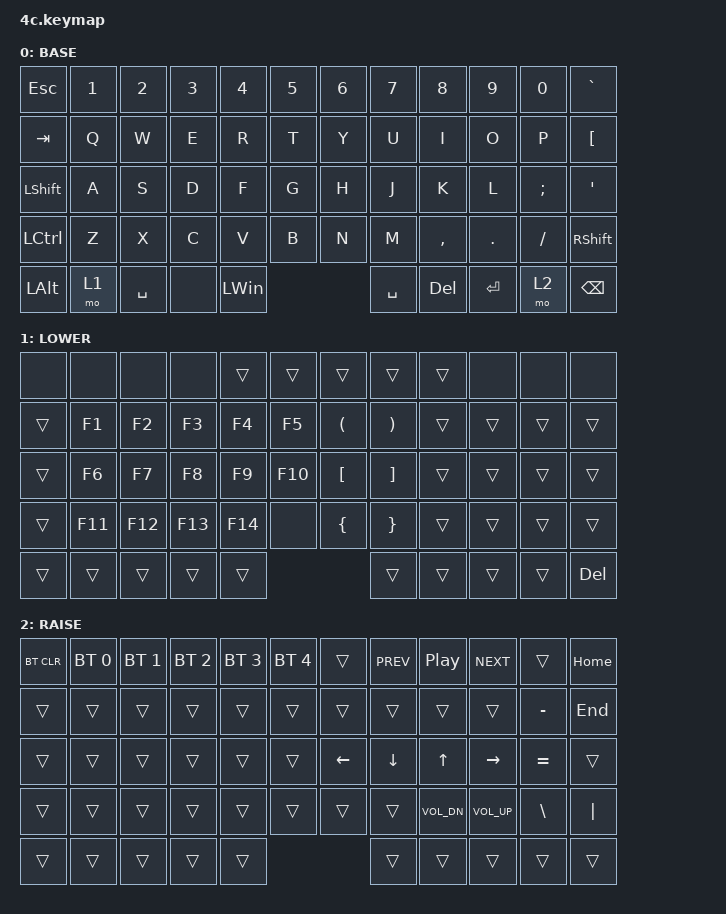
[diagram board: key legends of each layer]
/*
 * Copyright (c) 2020 The ZMK Contributors
 *
 * SPDX-License-Identifier: MIT
 */
/* THIS FILE WAS GENERATED!
 *
 * This file was generated automatically. You may or may not want to
 * edit it directly.
 */

#include <behaviors.dtsi>
#include <dt-bindings/zmk/bt.h>
#include <dt-bindings/zmk/keys.h>

/ {
    combos {
        compatible = "zmk,combos";

        btMo {
            bindings = <&mo 0>;
            key-positions = <56 57>;
        };
    };

    macros {
        codeFence: codeFence {
            compatible = "zmk,behavior-macro";
            label = "new_macro";
            #binding-cells = <0>;
            bindings =
                <&kp GRAVE &kp GRAVE &kp GRAVE &kp RET &kp RET &kp GRAVE &kp GRAVE &kp GRAVE &kp UP>,
                <&macro_press>;
        };

        alt_f4: alt_f4 {
            compatible = "zmk,behavior-macro";
            label = "ALT_F4";
            #binding-cells = <0>;
            bindings = <&kp LALT &kp F4>;
        };
    };

    keymap {
        compatible = "zmk,keymap";

        BASE {
            bindings = <
&kp ESC         &kp NUMBER_1  &kp NUMBER_2  &kp NUMBER_3  &kp NUMBER_4  &kp NUMBER_5    &kp NUMBER_6  &kp NUMBER_7  &kp NUMBER_8  &kp NUMBER_9  &kp NUMBER_0  &kp GRAVE
&kp TAB         &kp Q         &kp W         &kp E         &kp R         &kp T           &kp Y         &kp U         &kp I         &kp O         &kp P         &kp LEFT_BRACKET
&kp LEFT_SHIFT  &kp A         &kp S         &kp D         &kp F         &kp G           &kp H         &kp J         &kp K         &kp L         &kp SEMI      &kp APOS
&kp LCTRL       &kp Z         &kp X         &kp C         &kp V         &kp B           &kp N         &kp M         &kp COMMA     &kp PERIOD    &kp SLASH     &kp RIGHT_SHIFT
&kp LEFT_ALT    &mo 1         &kp SPACE     &none         &kp LEFT_WIN                                &kp SPACE     &kp DELETE    &kp ENTER     &mo 2         &kp BACKSPACE
            >;
        };

        LOWER {
            bindings = <
&none   &none    &none    &none    &trans   &trans     &trans                &trans                 &trans  &none   &none   &none
&trans  &kp F1   &kp F2   &kp F3   &kp F4   &kp F5     &kp LEFT_PARENTHESIS  &kp RIGHT_PARENTHESIS  &trans  &trans  &trans  &trans
&trans  &kp F6   &kp F7   &kp F8   &kp F9   &kp F10    &kp LBKT              &kp RBKT               &trans  &trans  &trans  &trans
&trans  &kp F11  &kp F12  &kp F13  &kp F14  &none      &kp LEFT_BRACE        &kp RIGHT_BRACE        &trans  &trans  &trans  &trans
&trans  &trans   &trans   &trans   &trans                                    &trans                 &trans  &trans  &trans  &kp DEL
            >;
        };

        RAISE {
            bindings = <
&bt BT_CLR  &bt BT_SEL 0  &bt BT_SEL 1  &bt BT_SEL 2  &bt BT_SEL 3  &bt BT_SEL 4    &trans    &kp C_PREV      &kp C_PP      &kp C_NEXT       &trans         &kp HOME
&trans      &trans        &trans        &trans        &trans        &trans          &trans    &trans          &trans        &trans           &kp MINUS      &kp END
&trans      &trans        &trans        &trans        &trans        &trans          &kp LEFT  &kp DOWN_ARROW  &kp UP_ARROW  &kp RIGHT_ARROW  &kp EQUAL      &trans
&trans      &trans        &trans        &trans        &trans        &trans          &trans    &trans          &kp C_VOL_DN  &kp C_VOL_UP     &kp BACKSLASH  &kp PIPE
&trans      &trans        &trans        &trans        &trans                                  &trans          &trans        &trans           &trans         &trans
            >;
        };
    };
};
